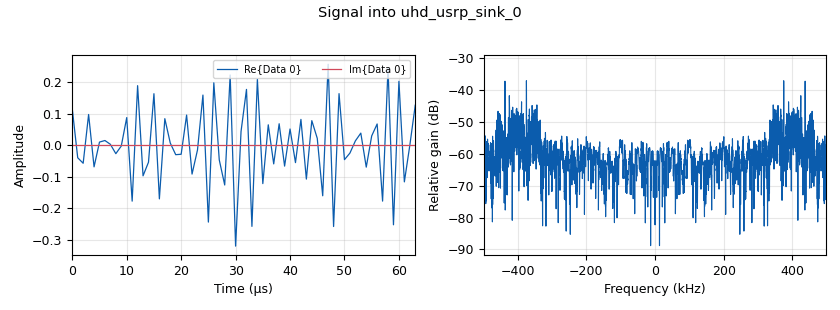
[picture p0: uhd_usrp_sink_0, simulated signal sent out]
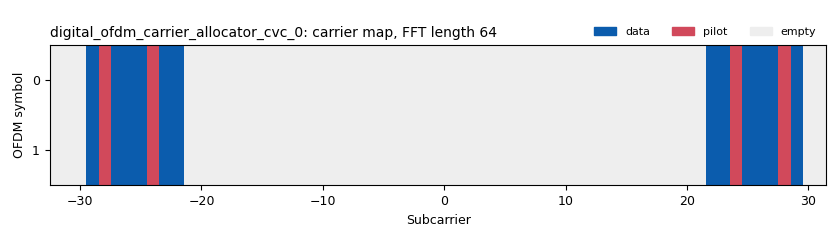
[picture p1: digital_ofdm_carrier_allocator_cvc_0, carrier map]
options:
  parameters:
    author: keremenhos
    generate_options: qt_gui
    id: OFDM_1
    output_language: python
    title: OFDM_1
  states: {}

blocks:
- name: Data
  id: variable
  parameters:
    value: numpy.array(numpy.random.randint(M,size=(data_sc//2)*spf))
  states: {}
- name: M
  id: variable
  parameters:
    value: '16'
  states: {}
- name: data_sc
  id: variable
  parameters:
    value: '12'
  states: {}
- name: fft_len
  id: variable
  parameters:
    value: '64'
  states: {}
- name: guard
  id: variable
  parameters:
    value: fft_len-null-data_sc-pilot_sc
  states: {}
- name: noise
  id: variable_qtgui_range
  parameters:
    gui_hint: 2,2,1,2
    label: Noise Power
    orient: Qt.Horizontal
    start: '-30'
    step: '0.5'
    stop: '10'
    value: '-30'
  states: {state: disabled}
- name: 'null'
  id: variable
  parameters:
    value: '43'
  states: {}
- name: pck_len
  id: variable
  parameters:
    value: '4096'
  states: {}
- name: pilot_sc
  id: variable
  parameters:
    value: '4'
  states: {}
- name: pilot_symbols
  id: variable
  parameters:
    value: numpy.array(numpy.random.randint(2,size=pilot_sc//2))*2 -1
  states: {}
- name: ps
  id: variable
  parameters:
    value: list(numpy.flip(pilot_symbols)) + list(pilot_symbols)
  states: {}
- name: samp_rate
  id: variable
  parameters:
    value: '1000000'
  states: {}
- name: spf
  id: variable
  parameters:
    value: (pck_len-510)//fft_len
  states: {}
- name: blocks_complex_to_float_1
  id: blocks_complex_to_float
  parameters: {}
  states: {}
- name: blocks_complex_to_mag_squared_0
  id: blocks_complex_to_mag_squared
  parameters: {}
  states: {state: disabled}
- name: blocks_float_to_complex_0
  id: blocks_float_to_complex
  parameters: {}
  states: {}
- name: blocks_float_to_complex_1
  id: blocks_float_to_complex
  parameters: {}
  states: {}
- name: blocks_keep_m_in_n_1
  id: blocks_keep_m_in_n
  parameters:
    m: fft_len*spf
    n: pck_len
    offset: '1'
    type: float
  states: {}
- name: blocks_multiply_const_vxx_0
  id: blocks_multiply_const_vxx
  parameters:
    const: 1/25
    type: complex
  states: {}
- name: blocks_null_sink_0
  id: blocks_null_sink
  parameters:
    type: complex
  states: {state: disabled}
- name: blocks_null_sink_1
  id: blocks_null_sink
  parameters:
    type: complex
  states: {state: disabled}
- name: blocks_stream_to_tagged_stream_0
  id: blocks_stream_to_tagged_stream
  parameters:
    len_tag_key: packet_len
    packet_len: '510'
    type: float
  states: {}
- name: blocks_stream_to_tagged_stream_0_0_0_0_0_0
  id: blocks_stream_to_tagged_stream
  parameters:
    len_tag_key: '"frame_len"'
    packet_len: data_sc
    type: complex
  states: {}
- name: blocks_stream_to_tagged_stream_1
  id: blocks_stream_to_tagged_stream
  parameters:
    len_tag_key: '"packet_len"'
    packet_len: fft_len*spf
    type: complex
  states: {}
- name: blocks_stream_to_tagged_stream_3
  id: blocks_stream_to_tagged_stream
  parameters:
    len_tag_key: sym
    packet_len: '1'
    type: complex
    vlen: fft_len
  states: {}
- name: blocks_stream_to_vector_0_0
  id: blocks_stream_to_vector
  parameters:
    num_items: fft_len
    type: complex
  states: {}
- name: blocks_tag_gate_0
  id: blocks_tag_gate
  parameters:
    propagate_tags: 'False'
    type: float
  states: {}
- name: blocks_tag_gate_1
  id: blocks_tag_gate
  parameters:
    propagate_tags: 'False'
    single_key: '"sym"'
    type: complex
  states: {}
- name: blocks_tagged_stream_mux_1
  id: blocks_tagged_stream_mux
  parameters:
    lengthtagname: packet_len
    ninputs: '2'
    type: complex
  states: {}
- name: blocks_vector_source_x_0_1
  id: blocks_vector_source_x
  parameters:
    repeat: 'True'
    type: float
    vector: '[-1,-1,-1,-1,-1,-1,-1,-1,1,-1,-1,-1,1,-1,-1,-1,1,1,-1,-1,1,-1,-1,-1,1,1,1,-1,1,-1,1,-1,1,1,-1,1,1,-1,-1,-1,1,1,1,-1,-1,-1,1,-1,-1,1,-1,1,-1,1,-1,-1,-1,1,1,-1,1,1,-1,-1,1,1,1,1,1,-1,-1,1,1,1,1,-1,-1,-1,1,-1,1,1,-1,1,1,1,-1,-1,1,-1,1,-1,-1,1,-1,-1,-1,-1,-1,1,-1,-1,1,1,-1,-1,1,1,1,-1,1,-1,-1,-1,1,1,1,1,1,-1,1,1,1,1,-1,-1,-1,-1,-1,1,1,1,1,1,1,1,1,1,-1,-1,-1,-1,1,1,1,1,-1,1,1,1,-1,-1,-1,-1,1,-1,1,1,-1,-1,1,1,-1,1,1,-1,1,1,1,1,-1,1,-1,-1,-1,-1,1,1,1,-1,-1,1,1,-1,-1,-1,-1,1,-1,-1,1,-1,-1,-1,1,-1,1,-1,1,1,1,-1,1,-1,1,1,1,1,-1,-1,1,-1,-1,1,-1,1,1,1,-1,-1,1,1,1,-1,-1,-1,-1,-1,-1,1,1,1,-1,1,1,1,-1,1,-1,-1,1,1,1,1,-1,1,-1,1,-1,-1,1,-1,1,-1,-1,-1,-1,-1,-1,1,-1,1,-1,1,-1,1,-1,1,1,1,1,1,-1,1,-1,1,1,-1,1,-1,-1,-1,-1,-1,1,1,-1,1,1,1,-1,1,1,-1,1,1,-1,1,-1,1,1,-1,-1,-1,-1,-1,1,-1,1,1,1,-1,1,1,1,1,1,-1,-1,-1,1,1,1,1,-1,-1,1,1,-1,1,-1,-1,1,1,-1,1,-1,1,1,1,-1,-1,-1,1,1,-1,1,-1,-1,-1,1,-1,1,1,1,1,1,1,1,-1,1,-1,-1,1,-1,1,1,-1,-1,-1,1,-1,1,-1,-1,1,1,-1,-1,-1,1,1,-1,-1,-1,-1,-1,-1,-1,1,1,-1,-1,1,1,-1,-1,1,-1,1,-1,1,1,-1,-1,1,-1,-1,1,1,1,1,1,1,-1,1,1,-1,1,-1,-1,1,-1,-1,1,-1,-1,1,1,-1,1,1,1,1,1,1,-1,-1,1,-1,1,1,-1,1,-1,1,-1,-1,-1,-1,1,-1,1,-1,-1,-1,1,-1,-1,1,1,1,-1,1,1,-1,-1,1,-1,1,1,1,1,-1,1,1,-1,-1,-1,-1,1,1,-1,1,-1,1,-1,1,-1,-1,1,1,1,-1,-1,1,-1,-1,-1,-1,1,1,-1,-1,-1,1,-1,-1,-1,-1]'
  states: {}
- name: blocks_vector_to_stream_0
  id: blocks_vector_to_stream
  parameters:
    num_items: fft_len
    type: complex
  states: {}
- name: blocks_vector_to_stream_0_0
  id: blocks_vector_to_stream
  parameters:
    num_items: fft_len
    type: complex
  states: {}
- name: digital_corr_est_cc_0
  id: digital_corr_est_cc
  parameters:
    mark_delay: '509'
    sps: '1'
    symbols: '[-1,-1,-1,-1,-1,-1,-1,-1,1,-1,-1,-1,1,-1,-1,-1,1,1,-1,-1,1,-1,-1,-1,1,1,1,-1,1,-1,1,-1,1,1,-1,1,1,-1,-1,-1,1,1,1,-1,-1,-1,1,-1,-1,1,-1,1,-1,1,-1,-1,-1,1,1,-1,1,1,-1,-1,1,1,1,1,1,-1,-1,1,1,1,1,-1,-1,-1,1,-1,1,1,-1,1,1,1,-1,-1,1,-1,1,-1,-1,1,-1,-1,-1,-1,-1,1,-1,-1,1,1,-1,-1,1,1,1,-1,1,-1,-1,-1,1,1,1,1,1,-1,1,1,1,1,-1,-1,-1,-1,-1,1,1,1,1,1,1,1,1,1,-1,-1,-1,-1,1,1,1,1,-1,1,1,1,-1,-1,-1,-1,1,-1,1,1,-1,-1,1,1,-1,1,1,-1,1,1,1,1,-1,1,-1,-1,-1,-1,1,1,1,-1,-1,1,1,-1,-1,-1,-1,1,-1,-1,1,-1,-1,-1,1,-1,1,-1,1,1,1,-1,1,-1,1,1,1,1,-1,-1,1,-1,-1,1,-1,1,1,1,-1,-1,1,1,1,-1,-1,-1,-1,-1,-1,1,1,1,-1,1,1,1,-1,1,-1,-1,1,1,1,1,-1,1,-1,1,-1,-1,1,-1,1,-1,-1,-1,-1,-1,-1,1,-1,1,-1,1,-1,1,-1,1,1,1,1,1,-1,1,-1,1,1,-1,1,-1,-1,-1,-1,-1,1,1,-1,1,1,1,-1,1,1,-1,1,1,-1,1,-1,1,1,-1,-1,-1,-1,-1,1,-1,1,1,1,-1,1,1,1,1,1,-1,-1,-1,1,1,1,1,-1,-1,1,1,-1,1,-1,-1,1,1,-1,1,-1,1,1,1,-1,-1,-1,1,1,-1,1,-1,-1,-1,1,-1,1,1,1,1,1,1,1,-1,1,-1,-1,1,-1,1,1,-1,-1,-1,1,-1,1,-1,-1,1,1,-1,-1,-1,1,1,-1,-1,-1,-1,-1,-1,-1,1,1,-1,-1,1,1,-1,-1,1,-1,1,-1,1,1,-1,-1,1,-1,-1,1,1,1,1,1,1,-1,1,1,-1,1,-1,-1,1,-1,-1,1,-1,-1,1,1,-1,1,1,1,1,1,1,-1,-1,1,-1,1,1,-1,1,-1,1,-1,-1,-1,-1,1,-1,1,-1,-1,-1,1,-1,-1,1,1,1,-1,1,1,-1,-1,1,-1,1,1,1,1,-1,1,1,-1,-1,-1,-1,1,1,-1,1,-1,1,-1,1,-1,-1,1,1,1,-1,-1,1,-1,-1,-1,-1,1,1,-1,-1,-1,1,-1,-1,-1,-1]'
    threshold: '0.03'
    threshold_method: digital.THRESHOLD_ABSOLUTE
  states: {}
- name: digital_ofdm_carrier_allocator_cvc_0
  id: digital_ofdm_carrier_allocator_cvc
  parameters:
    fft_len: fft_len
    len_tag_key: '"frame_len"'
    occupied_carriers: (list(range(-29, -28)) + list(range(-27, -24)) + list(range(-23, -21)) + list(range(22, 24)) + list(range(25, 28))+ list(range(29, 30)) ,)
    output_is_shifted: 'True'
    pilot_carriers: (( -28, -24, 24, 28),)
    pilot_symbols: ((ps),)
    sync_words: '[]'
  states: {}
- name: epy_block_0
  id: epy_block
  parameters:
    M: M
    _source_code: |
      """
      Embedded Python Blocks:

      Each time this file is saved, GRC will instantiate the first class it finds
      to get ports and parameters of your block. The arguments to __init__  will
      be the parameters. All of them are required to have default values!
      """

      import numpy as np
      import time
      from gnuradio import gr


      class blk(gr.sync_block):  # other base classes are basic_block, decim_block, interp_block
          """Embedded Python Block example - a simple multiply const"""

          def __init__(self, data=[], M=4, data_subcarrier=1, pilot_subcarrier=1, null_subcarrier=1, guard_subcarrier = 1, fft_size = 64, pilot_symbols=[], spf = 1):  # only default arguments here
              """arguments to this function show up as parameters in GRC"""
              gr.sync_block.__init__(
                  self,
                  name='OFDM Frame Generator',   # will show up in GRC
                  in_sig=[],
                  out_sig=[np.complex64]
              )
              self.M = M
              self.c = 0
              self.data = data
              self.data_subcarrier = data_subcarrier
              self.pilot_subcarrier = pilot_subcarrier
              self.null_subcarrier = null_subcarrier
              self.guard_subcarrier = guard_subcarrier
              self.fft_size = fft_size
              self.l = (len(self.data)//((self.data_subcarrier)/2))-1
              self.d = ((self.data_subcarrier+self.pilot_subcarrier)//2)
              self.data_buf = np.zeros(len(self.data), dtype=complex)
              self.pilot_symbols = pilot_symbols
              self.out_buf = np.zeros(len(self.data)*2, dtype=complex)
              self.spf = spf
              self.flg = 0
              
          def modulat(self, MO):
              n = np.arange(0,MO)
              a = np.asarray([x^(x>>1) for x in n])
              D = np.sqrt(MO).astype(int)
              a = np.reshape(a,(D,D))
              a[1::2, :] = a[1::2, ::-1]
              nGray=np.reshape(a,(MO))
              x1 = nGray//D
              y = nGray%D
              Ay=2*y+1-D
              Ax=2*x1+1-D
              cons = Ax+1j*Ay
              cons = cons/np.max(np.absolute((np.real(cons))))
              return cons
              
      #    def pilot_generator(self, psc, pd):
      #        pp = np.zeros(psc, dtype=complex)
      #        for i in range(psc):
      #            if pd[i] == 1:
      #                pp[i] = 1+0*1j
      #            else:
      #                pp[i] = -1+0*1j
      #        return pp

          def work(self, input_items, output_items):
              
              if self.flg == 0:
                  self.flg = 1
                  self.cons = self.modulat(self.M)
      #            self.ppos = np.arange(-1*((self.data_subcarrier+self.pilot_subcarrier)//(self.pilot_subcarrier*2)),((self.data_subcarrier+self.pilot_subcarrier)/2),((self.data_subcarrier+self.pilot_subcarrier)/self.pilot_subcarrier))
      #            self.ppos = self.ppos[self.ppos>0]
      #            self.pilots = self.pilot_generator(self.pilot_subcarrier//2, self.pilot_symbols)
              
              out = output_items[0]
              
              if len(out)<len(self.data):
      #            print(' ')
      #            print(len(out))
                  return 0
              
              for x in range(len(self.data)):
                  self.data_buf[x] = self.cons[self.data[x]]

              for z in range(self.spf*(self.data_subcarrier//2)):
                  self.out_buf[z*self.data_subcarrier:(z+1)*self.data_subcarrier] = list(np.conj(np.flip(self.data_buf[z*self.data_subcarrier//2:(z+1)*self.data_subcarrier//2]))) + list(self.data_buf[z*self.data_subcarrier//2:(z+1)*self.data_subcarrier//2])

              out[:(len(out)//len(self.out_buf))*len(self.out_buf)] = list(self.out_buf)*(len(out)//len(self.out_buf))
              return (len(out)//len(self.out_buf))*len(self.out_buf)
    data: Data
    data_subcarrier: data_sc
    fft_size: fft_len
    guard_subcarrier: guard
    null_subcarrier: 'null'
    pilot_subcarrier: pilot_sc
    pilot_symbols: pilot_symbols
    spf: spf
  states: {}
- name: epy_block_1
  id: epy_block
  parameters:
    _source_code: |
      import time
      import random
      import numpy as np

      from gnuradio import gr
      from gnuradio import gr_unittest
      from gnuradio import digital
      from gnuradio import blocks
      from gnuradio import grc
      import pmt
      import inspect

      class blk(gr.basic_block):
          def __init__(self, frame_length=1):
              
              gr.basic_block.__init__(
                  self,
                  name="Preamble Demux",
                  in_sig=[np.float32],
                  out_sig=[np.float32]
              )
              self.a = 0
              self.aa = 0
              self.buf = []
              self.off = 0
              self.det = 0
              self.flg2 = 0
              self.b = 0
              self.frame_length = frame_length
              
          def forecast(self, noutput_items, ninput_items_required):
              #setup size of input_items[i] for work call
              for i in range(len(ninput_items_required)):
                  ninput_items_required[i] = 4096
                  
          def general_work(self, input_items, output_items):
              in0 = input_items[0]
              out = output_items[0]
              
              if self.det == 0:
                  tags = self.get_tags_in_window(0, 0, len(in0))
                  for tag in tags:
                      offset = tag.offset
                      key = pmt.to_python(tag.key) # convert from PMT to python string
                      if key == 'corr_est':
                          self.off = offset
                          self.det = 1
                          self.flg2 = 0
                          self.buf.extend(in0[(self.off-self.aa)+1:])
                          break
                  if self.det == 0:
                      self.b = 0
                          
              if len(self.buf)<self.frame_length and self.det == 1 and self.flg2 == 1:
                  self.buf.extend(in0)
              
              if len(self.buf)>=self.frame_length and self.det == 1 and len(out)>=self.frame_length:
                  out[:self.frame_length] = self.buf[:self.frame_length]
                  if len(self.buf) == self.frame_length:
                      self.buf = []
                      self.det = 0
                      self.b = 1
                  else:
                      tags = self.get_tags_in_window(0, 0, len(in0))
                      for tag in tags:
                          self.offset2 = tag.offset
                          key = pmt.to_python(tag.key) # convert from PMT to python string
                          if key == 'corr_est':
                              if self.offset2 == self.off:
                                  self.buf = []
                                  self.det = 0
                                  self.b = 1
                                  break
                              else:
                                  self.off = self.offset2
                                  self.det = 1
                                  self.flg2 = 0
                                  self.buf=[]
                                  self.buf.extend(in0[(self.off-self.aa)+1:])
                                  self.b = 1
                                  break

              self.flg2 = 1
              self.aa = self.aa + len(in0)
              
              self.consume(0, len(in0)) #consume port 0 input
              
              if self.b == 0:
                  return 0
              else:
                  return self.frame_length
    frame_length: pck_len
  states: {}
- name: epy_block_2
  id: epy_block
  parameters:
    M: '4'
    _source_code: |
      """
      Embedded Python Blocks:

      Each time this file is saved, GRC will instantiate the first class it finds
      to get ports and parameters of your block. The arguments to __init__  will
      be the parameters. All of them are required to have default values!
      """

      import time
      import random
      import numpy as np

      from gnuradio import gr
      from gnuradio import gr_unittest
      from gnuradio import digital
      from gnuradio import blocks
      from gnuradio import grc
      from scipy import interpolate
      import pmt
      import inspect


      class blk(gr.basic_block):  # other base classes are basic_block, decim_block, interp_block
          """Embedded Python Block example - a simple multiply const"""

          def __init__(self, M=4, data=[], data_subcarrier=1, pilot_subcarrier=1, null_subcarrier=1, guard_subcarrier = 1, fft_size = 64, pilot_symbols=[], spf=1):  # only default arguments here
              """arguments to this function show up as parameters in GRC"""
              gr.basic_block.__init__(
                  self,
                  name='Embedded Python Block',   # will show up in GRC
                  in_sig=[np.complex64],
                  out_sig=[np.complex64]
              )
              # if an attribute with the same name as a parameter is found,
              # a callback is registered (properties work, too).
              self.M = M
              self.c = 0
              self.data = data
              self.data_subcarrier = data_subcarrier
              self.pilot_subcarrier = pilot_subcarrier
              self.null_subcarrier = null_subcarrier
              self.guard_subcarrier = guard_subcarrier
              self.fft_size = fft_size
              self.l = (len(self.data)//((self.data_subcarrier)/2))-1
              self.d = ((self.data_subcarrier+self.pilot_subcarrier)//2)
              self.data_buf = np.zeros(self.d, dtype=complex)
              self.pilot_symbols = pilot_symbols
              self.aa = 0
              self.out_buf = []
              self.data_out_buf = []
              self.sym_n = 0
              self.spf = spf
              self.flg = 0

          def forecast(self, noutput_items, ninput_items_required):
              #setup size of input_items[i] for work call
              for i in range(len(ninput_items_required)):
                  ninput_items_required[i] = 4096
                  
          def pilot_generator(self, psc, pd):
              pp = np.zeros(psc, dtype=complex)
              for i in range(psc):
                  if pd[i] == 1:
                      pp[i] = 1+0*1j
                  else:
                      pp[i] = -1+0*1j
              return pp

          def general_work(self, input_items, output_items):

              in0 = input_items[0][:]
              out = output_items[0][:]
              
              dat = self.data
              dsc = self.data_subcarrier
              psc = self.pilot_subcarrier
              gsc = self.guard_subcarrier
              nsc = self.null_subcarrier
              dd = self.d
              ffts = self.fft_size
              n_sc = (dsc+psc)/2
              n_grd = gsc//2
              
              self.ppos = np.arange(-1*((dsc+psc)//(psc*2)),((dsc+psc)/2),((dsc+psc)/psc))
              self.ppos = self.ppos[self.ppos>0].astype(int)
              self.pilots = self.pilot_generator(psc//2, self.pilot_symbols)
              self.tx_pilot = np.concatenate((np.flip(self.pilots),self.pilots),axis=None)
              
              alli = np.array(range(ffts))
              sc_ind = np.arange((n_grd+1),(ffts-n_grd))
              sc_ind = np.delete(sc_ind,(sc_ind[:, None] == (np.arange(-nsc//2,nsc//2)+(ffts/2)+1)).argmax(axis=0))
              sc_ind[:(np.where(sc_ind==((ffts/2)-(nsc//2)-1))[0][0])+1]=np.flipud(sc_ind[:(np.where(sc_ind==((ffts/2)-(nsc//2)-1))[0][0])+1])
              alli[:(np.where(alli==((ffts/2)-1))[0][0])+1]=np.flipud(alli[:(np.where(alli==((ffts/2)-1))[0][0])+1])
              p_ind = np.sort(np.concatenate((alli[self.ppos+(nsc//2)],alli[((ffts//2)+(nsc//2)+1+self.ppos)]),axis=None))
              s_sc_ind = np.sort(sc_ind)
              dsc_ind = np.delete(s_sc_ind,(s_sc_ind[:, None] == p_ind).argmax(axis=0))
              
              tags = self.get_tags_in_window(0, 0, len(in0))
              for tag in tags:
                  offset = tag.offset
                  key = pmt.to_python(tag.key) # convert from PMT to python string
                  if key == 'sym':
                      self.offset = offset
                      self.xx = p_ind + self.offset - self.aa
                      self.ch_est = np.true_divide(in0[self.xx.astype(int)],self.tx_pilot)
                      
                      self.ch_est_r = np.real(self.ch_est)
                      self.ch_est_i = np.imag(self.ch_est)
                      
                      f_r = interpolate.splrep(p_ind,self.ch_est_r,s=0)
                      f_i = interpolate.splrep(p_ind,self.ch_est_i,s=0)
                      H_r = interpolate.splev(np.sort(alli),f_r,der=0)
                      H_i = interpolate.splev(np.sort(alli),f_i,der=0)
                      H = H_r + H_i*1j

                      if sum(H_r) != 0:
                          self.sym_out = np.multiply(np.multiply((np.multiply(np.conj(H),H)**(-1)),np.conj(H)),in0[(self.offset-self.aa):(self.offset-self.aa)+ffts])
      #                    self.sym_out =in0[(self.offset-self.aa):(self.offset-self.aa)+ffts]
                          self.out_buf.extend(self.sym_out)
                          self.data_out_buf.extend(self.sym_out[dsc_ind[(dsc//2):].astype(int)])
                          self.sym_n += 1
                          if self.flg == 0:
                              self.flg = 1
                              self.index1 = self.offset + dsc_ind[dsc//2]
                              self.cind = 0
                          self.add_item_tag(0, (self.index1 + self.cind*(dsc//2)), pmt.intern("Sym#"), pmt.intern(str(self.sym_n)))
                          self.cind += 1
      #                    print(self.nitems_written(0))
                          if self.sym_n == self.spf:
                              self.sym_n = 0
                      
              if len(self.data_out_buf)>=len(out):
                  output_items[0][:] = self.data_out_buf[:len(out)]
                  self.data_out_buf = self.data_out_buf[len(out):]
                  self.aa = self.aa + len(in0)
                  self.consume(0, len(in0))
                  return len(out)

              self.aa = self.aa + len(in0)
              self.consume(0, len(in0))
              return 0
    data: Data
    data_subcarrier: data_sc
    fft_size: fft_len
    guard_subcarrier: guard
    null_subcarrier: 'null'
    pilot_subcarrier: pilot_sc
    pilot_symbols: pilot_symbols
    spf: spf
  states: {}
- name: epy_block_3
  id: epy_block
  parameters:
    _source_code: |
      """
      Embedded Python Blocks:

      Each time this file is saved, GRC will instantiate the first class it finds
      to get ports and parameters of your block. The arguments to __init__  will
      be the parameters. All of them are required to have default values!
      """

      import numpy as np
      from gnuradio import gr


      class blk(gr.sync_block):  # other base classes are basic_block, decim_block, interp_block
          """Embedded Python Block example - a simple multiply const"""

          def __init__(self):  # only default arguments here
              """arguments to this function show up as parameters in GRC"""
              gr.sync_block.__init__(
                  self,
                  name='Normalizer',   # will show up in GRC
                  in_sig=[np.complex64],
                  out_sig=[np.complex64]
              )
              # if an attribute with the same name as a parameter is found,
              # a callback is registered (properties work, too).

          def work(self, input_items, output_items):
              """example: multiply with constant"""
              output_items[0][:] = input_items[0] / np.max(np.absolute(np.real(input_items[0])))
              return len(output_items[0])
  states: {state: disabled}
- name: fft_vxx_0
  id: fft_vxx
  parameters:
    fft_size: fft_len
    forward: 'False'
    shift: 'True'
    type: complex
    window: '[]'
  states: {}
- name: fft_vxx_0_0
  id: fft_vxx
  parameters:
    fft_size: fft_len
    forward: 'True'
    shift: 'True'
    type: complex
    window: '[]'
  states: {}
- name: import_0
  id: import
  parameters:
    imports: import math,cmath,numpy, random, time
  states: {}
- name: qtgui_const_sink_x_0
  id: qtgui_const_sink_x
  parameters:
    grid: 'True'
    gui_hint: 0,0,2,2
    size: spf*(data_sc//2)
    tr_tag: '"Sym#"'
    type: complex
  states: {}
- name: qtgui_const_sink_x_1
  id: qtgui_const_sink_x
  parameters:
    size: '1024'
    type: complex
  states: {state: disabled}
- name: qtgui_freq_sink_x_0
  id: qtgui_freq_sink_x
  parameters:
    bw: samp_rate
    fc: '0'
    fftsize: '1024'
    freqhalf: 'False'
    gui_hint: 1,2,1,2
    tr_tag: corr_est
    type: float
    wintype: firdes.WIN_BLACKMAN_hARRIS
  states: {}
- name: qtgui_time_sink_x_0
  id: qtgui_time_sink_x
  parameters:
    gui_hint: 0,2,1,2
    size: spf*(data_sc//2)
    srate: samp_rate
    tr_level: '0'
    tr_mode: qtgui.TRIG_MODE_TAG
    tr_tag: '"Sym#"'
    type: complex
    update_time: '0.1'
    ymax: '1.5'
    ymin: '-1.5'
  states: {state: disabled}
- name: qtgui_time_sink_x_0_0
  id: qtgui_time_sink_x
  parameters:
    autoscale: 'True'
    size: '512'
    srate: samp_rate
    tr_mode: qtgui.TRIG_MODE_TAG
    tr_tag: corr_est
    type: float
    update_time: '0.01'
    ymax: '160000'
  states: {state: disabled}
- name: qtgui_time_sink_x_1
  id: qtgui_time_sink_x
  parameters:
    size: '1024'
    srate: samp_rate
    tr_tag: frame_len
    type: complex
  states: {}
- name: qtgui_time_sink_x_2
  id: qtgui_time_sink_x
  parameters:
    size: '4096'
    srate: samp_rate
    tr_mode: qtgui.TRIG_MODE_TAG
    tr_tag: packet_len
    type: complex
  states: {state: disabled}
- name: uhd_usrp_sink_0
  id: uhd_usrp_sink
  parameters:
    ant0: TX/RX
    center_freq0: '0'
    dev_args: '""'
    gain0: '0'
    len_tag_name: ''
    norm_gain0: 'False'
    samp_rate: samp_rate
    sync: none
    type: fc32
  states: {}
- name: uhd_usrp_source_0
  id: uhd_usrp_source
  parameters:
    ant0: ''
    center_freq0: '0'
    dc_offs_enb0: '""'
    dev_args: '""'
    gain0: '0'
    iq_imbal_enb0: '""'
    norm_gain0: 'False'
    samp_rate: samp_rate
    sync: none
    type: fc32
  states: {}

connections:
- [blocks_complex_to_float_1, '0', epy_block_1, '0']
- [blocks_complex_to_mag_squared_0, '0', qtgui_time_sink_x_0_0, '0']
- [blocks_float_to_complex_0, '0', blocks_tagged_stream_mux_1, '0']
- [blocks_float_to_complex_1, '0', blocks_stream_to_vector_0_0, '0']
- [blocks_keep_m_in_n_1, '0', blocks_tag_gate_0, '0']
- [blocks_keep_m_in_n_1, '0', qtgui_freq_sink_x_0, '0']
- [blocks_multiply_const_vxx_0, '0', blocks_stream_to_tagged_stream_1, '0']
- [blocks_stream_to_tagged_stream_0, '0', blocks_float_to_complex_0, '0']
- [blocks_stream_to_tagged_stream_0_0_0_0_0_0, '0', digital_ofdm_carrier_allocator_cvc_0, '0']
- [blocks_stream_to_tagged_stream_1, '0', blocks_tagged_stream_mux_1, '1']
- [blocks_stream_to_tagged_stream_3, '0', blocks_vector_to_stream_0_0, '0']
- [blocks_stream_to_vector_0_0, '0', fft_vxx_0_0, '0']
- [blocks_tag_gate_0, '0', blocks_float_to_complex_1, '0']
- [blocks_tag_gate_1, '0', blocks_null_sink_1, '0']
- [blocks_tag_gate_1, '0', qtgui_const_sink_x_0, '0']
- [blocks_tag_gate_1, '0', qtgui_time_sink_x_0, '0']
- [blocks_tagged_stream_mux_1, '0', qtgui_time_sink_x_2, '0']
- [blocks_tagged_stream_mux_1, '0', uhd_usrp_sink_0, '0']
- [blocks_vector_source_x_0_1, '0', blocks_stream_to_tagged_stream_0, '0']
- [blocks_vector_to_stream_0, '0', blocks_multiply_const_vxx_0, '0']
- [blocks_vector_to_stream_0, '0', epy_block_3, '0']
- [blocks_vector_to_stream_0_0, '0', epy_block_2, '0']
- [blocks_vector_to_stream_0_0, '0', qtgui_const_sink_x_1, '0']
- [digital_corr_est_cc_0, '0', blocks_complex_to_float_1, '0']
- [digital_corr_est_cc_0, '1', blocks_complex_to_mag_squared_0, '0']
- [digital_ofdm_carrier_allocator_cvc_0, '0', fft_vxx_0, '0']
- [epy_block_0, '0', blocks_stream_to_tagged_stream_0_0_0_0_0_0, '0']
- [epy_block_1, '0', blocks_keep_m_in_n_1, '0']
- [epy_block_2, '0', blocks_null_sink_0, '0']
- [epy_block_2, '0', blocks_tag_gate_1, '0']
- [epy_block_3, '0', blocks_stream_to_tagged_stream_1, '0']
- [fft_vxx_0, '0', blocks_vector_to_stream_0, '0']
- [fft_vxx_0_0, '0', blocks_stream_to_tagged_stream_3, '0']
- [uhd_usrp_source_0, '0', digital_corr_est_cc_0, '0']
- [uhd_usrp_source_0, '0', qtgui_time_sink_x_1, '0']

metadata:
  file_format: 1
